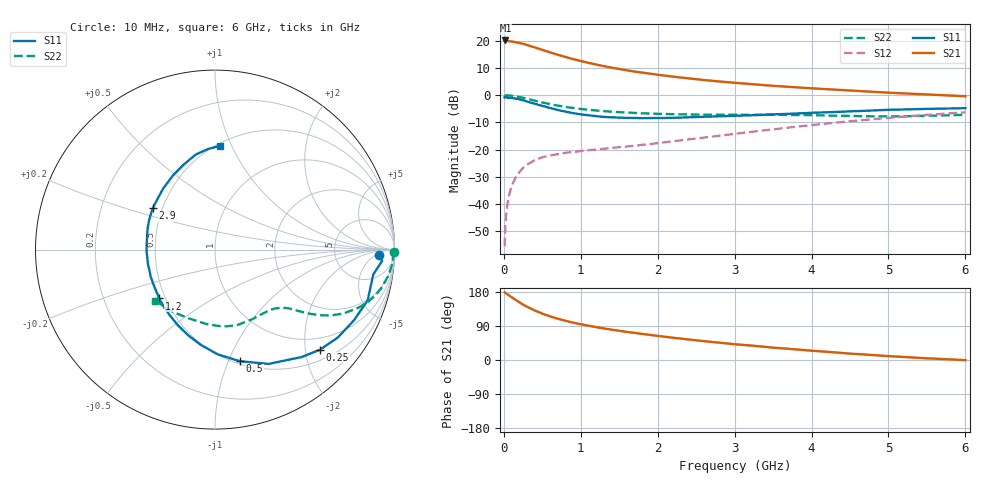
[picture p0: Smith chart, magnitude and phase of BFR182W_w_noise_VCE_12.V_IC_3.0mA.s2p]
! Infineon Technologies  Discrete & RF Semiconductors
! BFR182W
! VCE =  12. V,  IC =  3.0 mA
! Common Emitter S-Parameters:  Jan 2017
# GHz  S  MA  R  50
!  f  S11  S21  S12  S22
! GHz  MAG  ANG  MAG  ANG  MAG  ANG  MAG  ANG
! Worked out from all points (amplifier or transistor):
!   77 points, 10 MHz to 6 GHz, reference 50 ohm
!   highest |S21| = 20.1 dB at 20 MHz (marker M1)
!   |S21| within 3 dB of that: start of sweep to 450.1 MHz
!   unconditionally stable (mu >= 1): 1.593 GHz to 3.032 GHz
!   at 130 MHz: K = 0.13, MSG = 25.5 dB, |S12| = -31.5 dB
!   at 2.2 GHz: K = 1.07, MAG = 10.2 dB, |S12| = -16.9 dB
!   at 6 GHz: K = 0.81, MSG = 3.0 dB, |S12| = -6.3 dB
!   lowest NFmin = 0.82 dB at 450 MHz
!   S11 on the Smith chart (normalised r, x): 10 MHz: 19, -7; 250 MHz: 0.72, -2.31; 500 MHz: 0.53, -1.10; 1.2 GHz: 0.46, -0.30; 2.9 GHz: 0.44, +0.25; 6 GHz: 0.52, +0.90
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0.01  0.9119 -2.0  9.945 178.3  0.0017 85.6  1 -0.8
0.02  0.9336 -3.8  10.11 177.1  0.0041 98.4  0.993 -1.9
0.06  0.8913 -10.9  9.835 171.5  0.0128 82.0  0.9885 -5.2
0.1  0.8963 -18.3  9.704 166.0  0.0209 79.5  0.9767 -8.5
0.15  0.869 -26.9  9.43 159.1  0.0305 74.5  0.9549 -12.6
0.25  0.8086 -43.6  8.775 146.2  0.0465 66.4  0.8966 -19.3
0.3  0.7685 -51.2  8.346 140.7  0.0529 63.3  0.8614 -22.1
0.4  0.7034 -64.9  7.567 130.7  0.064 57.9  0.7968 -26.6
0.5  0.6373 -77.4  6.788 122.4  0.0728 53.5  0.737 -29.9
0.6  0.5841 -88.4  6.121 115.2  0.0786 50.4  0.6871 -32.1
0.7  0.5369 -98.5  5.523 109.0  0.0827 49.2  0.6446 -33.8
0.8  0.4999 -107.5  5.037 103.5  0.0878 48.2  0.6109 -35.1
0.9  0.4694 -116.2  4.599 98.6  0.0909 47.4  0.5833 -36.1
1.1  0.4285 -131.5  3.928 90.5  0.0983 47.7  0.5416 -37.8
1.2  0.413 -138.8  3.654 86.7  0.1006 47.8  0.5245 -38.6
1.6  0.3829 -162.8  2.86 74.1  0.1146 51.1  0.4821 -42.5
2.1  0.3824 173.5  2.282 61.2  0.1374 55.7  0.4521 -49.3
2.9  0.4151 146.3  1.739 43.7  0.1877 59.6  0.4389 -63.0
3.1  0.4234 140.7  1.648 40.0  0.2032 59.7  0.4373 -66.5
4.1  0.4808 117.3  1.314 23.1  0.2925 56.3  0.4274 -86.3
5.1  0.5441 99.9  1.097 9.1  0.3945 48.1  0.4101 -113.9
6  0.5792 87.2  0.957 -0.4  0.485 38.3  0.4382 -139.6
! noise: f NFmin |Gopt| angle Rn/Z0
0.45  0.82  0.39  31  0.2
0.9  0.95  0.3  57  0.2
1.9  1.6  0.25  149  0.12
2.4  1.92  0.23  170  0.17
